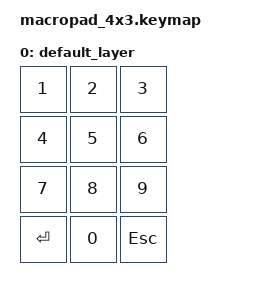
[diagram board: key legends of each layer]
/ {
    keymap {
        compatible = "zmk,keymap";

        default_layer {
            bindings = <
                &kp 1    &kp 2    &kp 3
                &kp 4    &kp 5    &kp 6
                &kp 7    &kp 8    &kp 9
                &kp ENTER    &kp 0    &kp ESC
            >;
        };
    };
};
